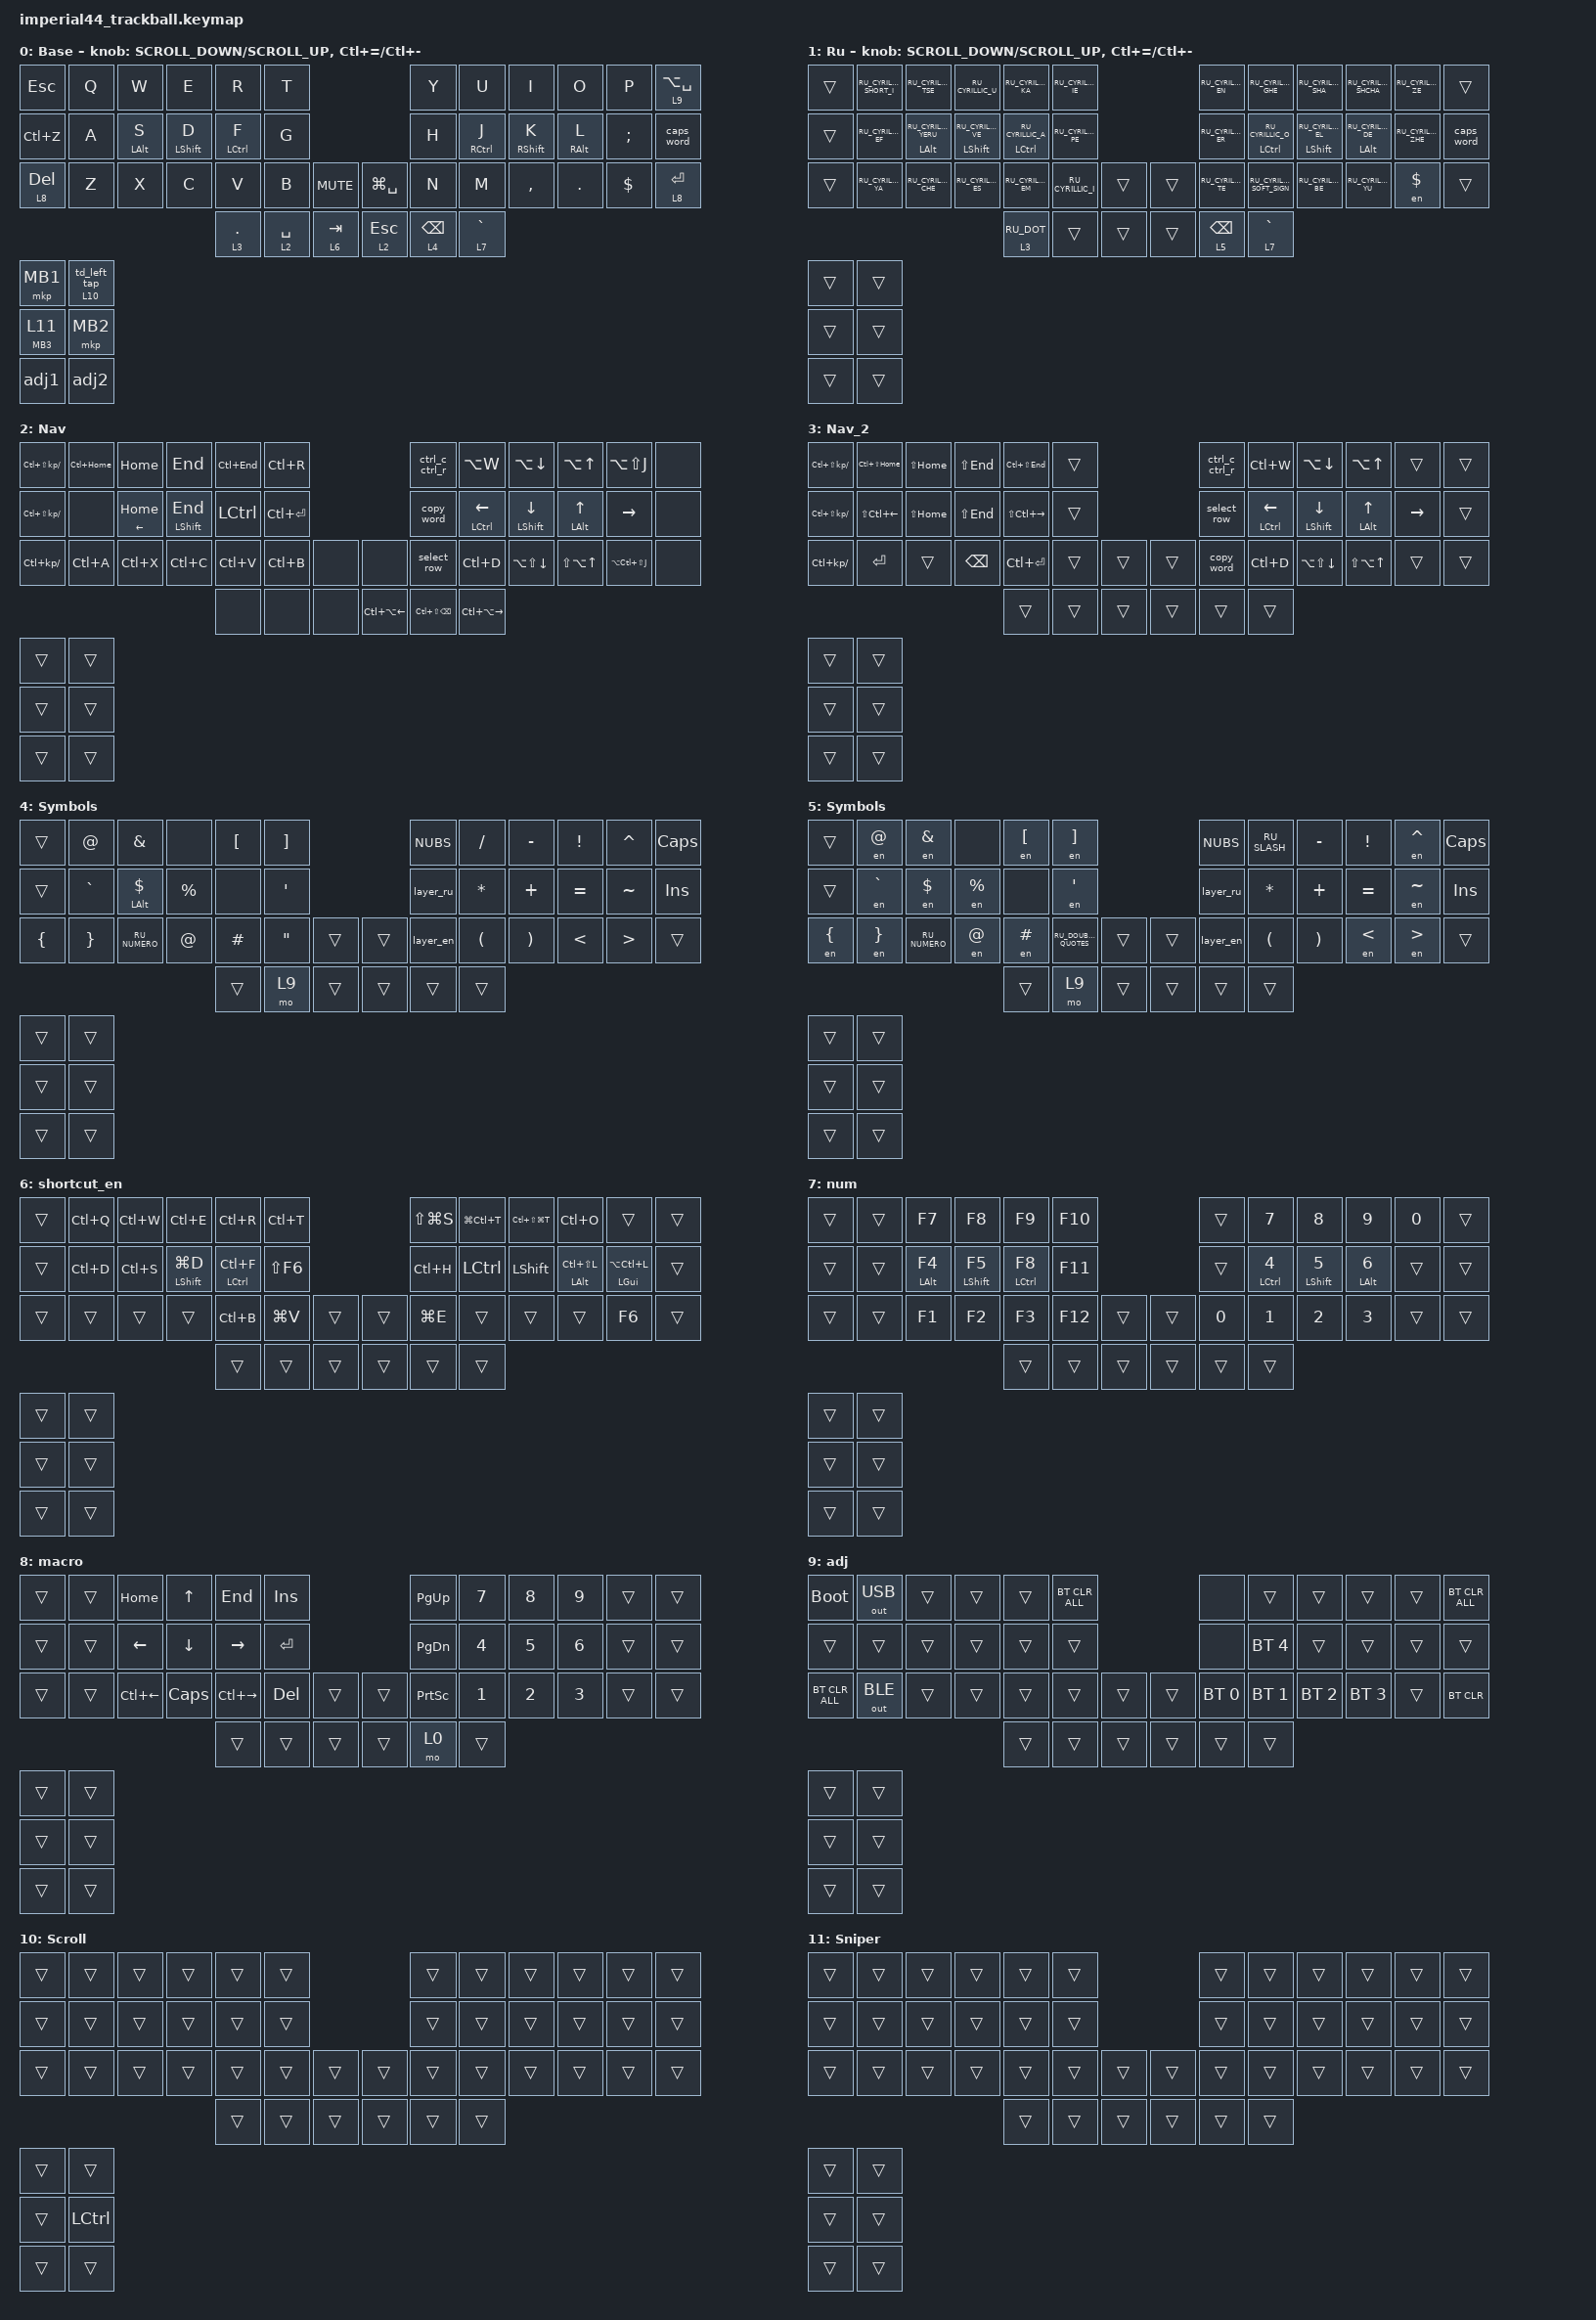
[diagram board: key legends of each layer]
#include "keys_ru.h"
#include <dt-bindings/zmk/input_transform.h>
#include <input/processors.dtsi>
#include <scroll-snap.dtsi>
#include <behaviors.dtsi>
#include <dt-bindings/zmk/bt.h>
#include <dt-bindings/zmk/keys.h>
#include <dt-bindings/zmk/outputs.h>
#include <dt-bindings/zmk/pointing.h>
#include "input/processors/sensor_rotation.dtsi"

&mt {
    quick-tap-ms = <250>;
    flavor = "tap-preferred";
    tapping-term-ms = <170>;
};

&lt {
    flavor = "balanced";
    tapping-term-ms = <170>;
    quick-tap-ms = <210>;
    require-prior-idle-ms = <120>;
};

/ {
    behaviors {
        // Trackball button 2: tap = MB3, hold = scroll layer, tap+hold = Ctrl+Alt+Shift (best-effort)

        td_left_tap: td_left_tap {
            compatible = "zmk,behavior-tap-dance";
            label = "TD_LEFT_TAP";
            #binding-cells = <0>;
            tapping-term-ms = <130>;
            bindings = <&mkp MB3>, <&kp LS(LA(LCTRL))>;
        };

        lt_td_left: lt_td_left {
            compatible = "zmk,behavior-hold-tap";
            label = "LT_TD_LEFT";
            #binding-cells = <2>;
            flavor = "balanced";
            tapping-term-ms = <90>;
            quick-tap-ms = <90>;
            bindings = <&mo>, <&td_left_tap>;
        };

        // Trackball button 3: tap = toggle sniper layer, hold = held MB3

        mmb_sniper: mmb_sniper {
            compatible = "zmk,behavior-hold-tap";
            label = "MMB_SNIPER";
            #binding-cells = <2>;
            flavor = "balanced";
            tapping-term-ms = <200>;
            bindings = <&mkp>, <&tog>;
        };

        adj1: adj1 {
            compatible = "zmk,behavior-tap-dance";
            label = "ADJ1";
            #binding-cells = <0>;
            bindings = <&bt BT_SEL 0>, <&bt BT_CLR>;
        };

        adj2: adj2 {
            compatible = "zmk,behavior-tap-dance";
            label = "ADJ2";
            #binding-cells = <0>;
            bindings = <&bt BT_NXT>, <&bt BT_CLR_ALL>;
        };
    };

    combos {
        compatible = "zmk,combos";

        exclm {
            bindings = <&kp EXCL>;
            key-positions = <3 15>;
            layers = <1 0>;
        };

        dash {
            bindings = <&kp MINUS>;
            key-positions = <4 16>;
            layers = <0 1>;
        };

        en_colon {
            bindings = <&kp COLON>;
            key-positions = <5 17>;
            layers = <0>;
        };

        ru_colon {
            bindings = <&kp RU_COLON>;
            key-positions = <5 17>;
            layers = <1>;
        };

        en_semic {
            bindings = <&kp SEMICOLON>;
            key-positions = <6 18>;
            layers = <0>;
        };

        ru_semi {
            bindings = <&kp RU_SEMICOLON>;
            key-positions = <6 18>;
            layers = <1>;
        };

        undersc {
            bindings = <&kp UNDER>;
            key-positions = <7 19>;
            layers = <1 0>;
        };

        en_quest {
            bindings = <&kp QUESTION>;
            key-positions = <8 20>;
            layers = <0>;
        };

        ru_quest {
            bindings = <&kp RU_QUESTION>;
            key-positions = <8 20>;
            layers = <1>;
        };

        en_pipe {
            bindings = <&kp PIPE>;
            key-positions = <6 7>;
            layers = <4>;
        };

        ru_pipe {
            bindings = <&en PIPE>;
            key-positions = <6 7>;
            layers = <5>;
        };

        shift {
            bindings = <&kp LEFT_SHIFT>;
            key-positions = <12 0>;
            layers = <0 1>;
        };

        ctrl {
            bindings = <&kp RCTRL>;
            key-positions = <12 24>;
            layers = <0 1>;
        };

        gui {
            bindings = <&kp LEFT_GUI>;
            key-positions = <11 23>;
            layers = <0 1>;
        };

        ru_coma {
            bindings = <&kp RU_COMMA>;
            key-positions = <4 3>;
            layers = <1>;
        };

        ru_ha {
            bindings = <&kp RU_CYRILLIC_HA>;
            key-positions = <7 8>;
            layers = <1>;
        };

        ru_hard {
            bindings = <&kp RU_CYRILLIC_HARD_SIGN>;
            key-positions = <8 9>;
            layers = <1>;
        };

        ru_iye {
            bindings = <&kp RU_CYRILLIC_E>;
            key-positions = <21 22>;
            layers = <1>;
        };

        en_comma {
            bindings = <&kp COMMA>;
            key-positions = <4 3>;
            layers = <0>;
        };

        // Trackball buttons 45 (mmb_sniper) + 47 (mkp MB2) -> Ctrl

        combo_ctrl {
            timeout-ms = <50>;
            key-positions = <45 47>;
            bindings = <&kp LCTRL>;
            layers = <0>;
        };
    };

    macros {
        to_ru: to_ru {
            compatible = "zmk,behavior-macro";
            #binding-cells = <0>;
            bindings = <&kp LS(LC(N2))>;
            label = "TO_RU";
            wait-ms = <0>;
            tap-ms = <30>;
        };

        to_en: to_en {
            compatible = "zmk,behavior-macro";
            #binding-cells = <0>;
            bindings = <&kp LS(LC(N1))>;
            label = "TO_EN";
            wait-ms = <0>;
            tap-ms = <30>;
        };

        layer_en: layer_en {
            compatible = "zmk,behavior-macro";
            #binding-cells = <0>;
            bindings = <&to 0 &to_en>;
            label = "LAYER_EN";
            wait-ms = <0>;
            tap-ms = <30>;
        };

        layer_ru: layer_ru {
            compatible = "zmk,behavior-macro";
            #binding-cells = <0>;
            bindings = <&to 1 &to_ru>;
            label = "LAYER_RU";
            tap-ms = <30>;
            wait-ms = <0>;
        };

        en: en {
            compatible = "zmk,behavior-macro-one-param";
            #binding-cells = <1>;
            bindings =
                <&to_en>,
                <&macro_press>,
                <&macro_param_1to1 &kp MACRO_PLACEHOLDER>,
                <&macro_pause_for_release>,
                <&macro_release>,
                <&macro_param_1to1 &kp MACRO_PLACEHOLDER>,
                <&macro_tap>,
                <&to_ru>;

            label = "EN";
            wait-ms = <0>;
            tap-ms = <30>;
        };

        ctrl_c_ctrl_r: ctrl_c_ctrl_r {
            compatible = "zmk,behavior-macro";
            #binding-cells = <0>;
            bindings = <&kp LC(C) &kp LC(R)>;
            label = "CTRL_C_CTRL_R";
            wait-ms = <2>;
        };

        select_row: select_row {
            compatible = "zmk,behavior-macro";
            #binding-cells = <0>;
            bindings = <&kp HOME &kp HOME &kp LS(END)>;
            label = "SELECT_ROW";
        };

        copy_word: copy_word {
            compatible = "zmk,behavior-macro";
            #binding-cells = <0>;
            bindings = <&kp LC(LEFT_ARROW) &kp LC(RIGHT_ARROW) &kp LC(C)>;
            label = "COPY_WORD";
        };
    };

    keymap {
        compatible = "zmk,keymap";

        en {
            bindings = <
&kp ESC             &kp Q             &kp W           &kp E             &kp R        &kp T                                     &kp Y            &kp U        &kp I              &kp O            &kp P       &lt 9 LA(SPACE)
&kp LC(Z)           &kp A             &mt LEFT_ALT S  &mt LEFT_SHIFT D  &mt LCTRL F  &kp G                                     &kp H            &mt RCTRL J  &mt RIGHT_SHIFT K  &mt RIGHT_ALT L  &kp SEMI    &caps_word
&lt 8 DELETE        &kp Z             &kp X           &kp C             &kp V        &kp B        &kp K_MUTE    &kp LG(SPACE)  &kp N            &kp M        &kp COMMA          &kp DOT          &kp DOLLAR  &lt 8 ENTER
                                                                        &lt 3 DOT    &lt 2 SPACE  &lt 6 TAB     &lt 2 ESC      &lt 4 BACKSPACE  &lt 7 GRAVE
&mkp MB1            &lt_td_left 10 0
&mmb_sniper MB3 11  &mkp MB2
&adj1               &adj2
            >;

            display-name = "Base";
            sensor-bindings =
                <&inc_dec_kp K_SCROLL_DOWN K_SCROLL_UP>,
                <&inc_dec_kp LC(EQUAL) LC(MINUS)>;
        };

        ru {
            display-name = "Ru";
            bindings = <
&trans  &kp RU_CYRILLIC_SHORT_I  &kp RU_CYRILLIC_TSE            &kp RU_CYRILLIC_U              &kp RU_CYRILLIC_KA       &kp RU_CYRILLIC_IE                    &kp RU_CYRILLIC_EN  &kp RU_CYRILLIC_GHE        &kp RU_CYRILLIC_SHA            &kp RU_CYRILLIC_SHCHA        &kp RU_CYRILLIC_ZE   &trans
&trans  &kp RU_CYRILLIC_EF       &mt LEFT_ALT RU_CYRILLIC_YERU  &mt LEFT_SHIFT RU_CYRILLIC_VE  &mt LCTRL RU_CYRILLIC_A  &kp RU_CYRILLIC_PE                    &kp RU_CYRILLIC_ER  &mt LCTRL RU_CYRILLIC_O    &mt LEFT_SHIFT RU_CYRILLIC_EL  &mt LEFT_ALT RU_CYRILLIC_DE  &kp RU_CYRILLIC_ZHE  &caps_word
&trans  &kp RU_CYRILLIC_YA       &kp RU_CYRILLIC_CHE            &kp RU_CYRILLIC_ES             &kp RU_CYRILLIC_EM       &kp RU_CYRILLIC_I   &trans    &trans  &kp RU_CYRILLIC_TE  &kp RU_CYRILLIC_SOFT_SIGN  &kp RU_CYRILLIC_BE             &kp RU_CYRILLIC_YU           &en DOLLAR           &trans
                                                                                               &lt 3 RU_DOT             &trans              &trans    &trans  &lt 5 BACKSPACE     &lt 7 GRAVE
&trans  &trans
&trans  &trans
&trans  &trans
            >;

            sensor-bindings =
                <&inc_dec_kp K_SCROLL_DOWN K_SCROLL_UP>,
                <&inc_dec_kp LC(EQUAL) LC(MINUS)>;
        };

        nav {
            bindings = <
&kp LC(LS(KP_SLASH))   &kp LC(HOME)  &kp HOME       &kp END             &kp LC(END)  &kp LC(R)                                     &ctrl_c_ctrl_r         &kp LA(W)                &kp LA(DOWN)               &kp LA(UP)       &kp LA(LS(J))      &none
&kp LC(LS(KP_DIVIDE))  &none         &mt LEFT HOME  &mt LEFT_SHIFT END  &kp LCTRL    &kp LC(RET)                                   &copy_word             &mt LCTRL LEFT_ARROW     &mt LEFT_SHIFT DOWN_ARROW  &mt LEFT_ALT UP  &kp RIGHT_ARROW    &none
&kp LC(KP_DIVIDE)      &kp LC(A)     &kp LC(X)      &kp LC(C)           &kp LC(V)    &kp LC(B)    &none    &none                   &select_row            &kp LC(D)                &kp LA(LS(DOWN_ARROW))     &kp LS(LA(UP))   &kp LA(LC(LS(J)))  &none
                                                                        &none        &none        &none    &kp LC(LA(LEFT_ARROW))  &kp LC(LS(BACKSPACE))  &kp LC(LA(RIGHT_ARROW))
&trans                 &trans
&trans                 &trans
&trans                 &trans
            >;

            display-name = "Nav";
        };

        nav_2 {
            display-name = "Nav_2";
            bindings = <
&kp LC(LS(KP_SLASH))   &kp LC(LS(HOME))        &kp LS(HOME)  &kp LS(END)    &kp LC(LS(END))          &trans                    &ctrl_c_ctrl_r  &kp LC(W)             &kp LA(DOWN)               &kp LA(UP)       &trans           &trans
&kp LC(LS(KP_DIVIDE))  &kp LS(LC(LEFT_ARROW))  &kp LS(HOME)  &kp LS(END)    &kp LS(LC(RIGHT_ARROW))  &trans                    &select_row     &mt LCTRL LEFT_ARROW  &mt LEFT_SHIFT DOWN_ARROW  &mt LEFT_ALT UP  &kp RIGHT_ARROW  &trans
&kp LC(KP_DIVIDE)      &kp ENTER               &trans        &kp BACKSPACE  &kp LC(ENTER)            &trans  &trans    &trans  &copy_word      &kp LC(D)             &kp LA(LS(DOWN_ARROW))     &kp LS(LA(UP))   &trans           &trans
                                                                            &trans                   &trans  &trans    &trans  &trans          &trans
&trans                 &trans
&trans                 &trans
&trans                 &trans
            >;
        };

        sym_en {
            display-name = "Symbols";
            bindings = <
&trans          &kp AT           &kp AMPERSAND        &none        &kp LEFT_BRACKET  &kp RIGHT_BRACKET                    &kp NUBS   &kp FSLH   &kp MINUS  &kp EXCL       &kp CARET         &kp CLCK
&trans          &kp GRAVE        &mt LEFT_ALT DOLLAR  &kp PRCNT    &none             &kp SQT                              &layer_ru  &kp ASTRK  &kp PLUS   &kp EQUAL      &kp TILDE         &kp INS
&kp LEFT_BRACE  &kp RIGHT_BRACE  &kp RU_NUMERO        &kp AT_SIGN  &kp HASH          &kp DQT            &trans    &trans  &layer_en  &kp LPAR   &kp RPAR   &kp LESS_THAN  &kp GREATER_THAN  &trans
                                                                   &trans            &mo 9              &trans    &trans  &trans     &trans
&trans          &trans
&trans          &trans
&trans          &trans
            >;
        };

        sym_ru {
            display-name = "Symbols";
            bindings = <
&trans          &en AT           &en AMPERSAND  &none        &en LEFT_BRACKET  &en RIGHT_BRACKET                       &kp NUBS   &kp RU_SLASH  &kp MINUS  &kp EXCL       &en CARET         &kp CLCK
&trans          &en GRAVE        &en DOLLAR     &en PRCNT    &none             &en SQT                                 &layer_ru  &kp ASTRK     &kp PLUS   &kp EQUAL      &en TILDE         &kp INS
&en LEFT_BRACE  &en RIGHT_BRACE  &kp RU_NUMERO  &en AT_SIGN  &en HASH          &kp RU_DOUBLE_QUOTES  &trans    &trans  &layer_en  &kp LPAR      &kp RPAR   &en LESS_THAN  &en GREATER_THAN  &trans
                                                             &trans            &mo 9                 &trans    &trans  &trans     &trans
&trans          &trans
&trans          &trans
&trans          &trans
            >;
        };

        shortcut_en {
            bindings = <
&trans  &kp LC(Q)  &kp LC(W)  &kp LC(E)             &kp LC(R)        &kp LC(T)                     &kp LS(LG(S))  &kp LG(LC(T))  &kp LC(LS(LG(T)))  &kp LC(O)               &trans                  &trans
&trans  &kp LC(D)  &kp LC(S)  &mt LEFT_SHIFT LG(D)  &mt LCTRL LC(F)  &kp LS(F6)                    &kp LC(H)      &kp LCTRL      &kp LEFT_SHIFT     &mt LEFT_ALT LC(LS(L))  &mt LEFT_GUI LA(LC(L))  &trans
&trans  &trans     &trans     &trans                &kp LC(B)        &kp LG(V)   &trans    &trans  &kp LG(E)      &trans         &trans             &trans                  &kp F6                  &trans
                                                    &trans           &trans      &trans    &trans  &trans         &trans
&trans  &trans
&trans  &trans
&trans  &trans
            >;

            label = "shortcut_en";
        };

        num {
            bindings = <
&trans  &trans  &kp F7           &kp F8             &kp F9        &kp F10                    &trans  &kp N7              &kp N8                   &kp N9           &kp N0  &trans
&trans  &trans  &mt LEFT_ALT F4  &mt LEFT_SHIFT F5  &mt LCTRL F8  &kp F11                    &trans  &mt LCTRL NUMBER_4  &mt LEFT_SHIFT NUMBER_5  &mt LEFT_ALT N6  &trans  &trans
&trans  &trans  &kp F1           &kp F2             &kp F3        &kp F12  &trans    &trans  &kp N0  &kp N1              &kp N2                   &kp N3           &trans  &trans
                                                    &trans        &trans   &trans    &trans  &trans  &trans
&trans  &trans
&trans  &trans
&trans  &trans
            >;
        };

        macro {
            display-name = "macro";
            bindings = <
&trans  &trans  &kp HOME      &kp UP    &kp END        &kp INS                    &kp PG_UP        &kp N7  &kp N8  &kp N9  &trans  &trans
&trans  &trans  &kp LEFT      &kp DOWN  &kp RIGHT      &kp RET                    &kp PG_DN        &kp N4  &kp N5  &kp N6  &trans  &trans
&trans  &trans  &kp LC(LEFT)  &kp CAPS  &kp LC(RIGHT)  &kp DEL  &trans    &trans  &kp PRINTSCREEN  &kp N1  &kp N2  &kp N3  &trans  &trans
                                        &trans         &trans   &trans    &trans  &mo 0            &trans
&trans  &trans
&trans  &trans
&trans  &trans
            >;
        };

        adj {
            bindings = <
&bootloader     &out OUT_USB  &trans  &trans  &trans  &bt BT_CLR_ALL                    &none         &trans        &trans        &trans        &trans  &bt BT_CLR_ALL
&trans          &trans        &trans  &trans  &trans  &trans                            &none         &bt BT_SEL 4  &trans        &trans        &trans  &trans
&bt BT_CLR_ALL  &out OUT_BLE  &trans  &trans  &trans  &trans          &trans    &trans  &bt BT_SEL 0  &bt BT_SEL 1  &bt BT_SEL 2  &bt BT_SEL 3  &trans  &bt BT_CLR
                                              &trans  &trans          &trans    &trans  &trans        &trans
&trans          &trans
&trans          &trans
&trans          &trans
            >;
        };

        scroll {
            display-name = "Scroll";
            bindings = <
&trans  &trans     &trans  &trans  &trans  &trans                    &trans  &trans  &trans  &trans  &trans  &trans
&trans  &trans     &trans  &trans  &trans  &trans                    &trans  &trans  &trans  &trans  &trans  &trans
&trans  &trans     &trans  &trans  &trans  &trans  &trans    &trans  &trans  &trans  &trans  &trans  &trans  &trans
                                   &trans  &trans  &trans    &trans  &trans  &trans
&trans  &trans
&trans  &kp LCTRL
&trans  &trans
            >;
        };

        sniper {
            display-name = "Sniper";
            bindings = <
&trans  &trans  &trans  &trans  &trans  &trans                    &trans  &trans  &trans  &trans  &trans  &trans
&trans  &trans  &trans  &trans  &trans  &trans                    &trans  &trans  &trans  &trans  &trans  &trans
&trans  &trans  &trans  &trans  &trans  &trans  &trans    &trans  &trans  &trans  &trans  &trans  &trans  &trans
                                &trans  &trans  &trans    &trans  &trans  &trans
&trans  &trans
&trans  &trans
&trans  &trans
            >;
        };
    };

    input_processors {
        sensor_rotation: sensor_rotation {
            compatible = "zmk,input-processor-sensor-rotation";
            status = "okay";
            #input-processor-cells = <0>;
            rotation-angle = <5>;
        };
    };
};

&trackball { cpi = <400>; };

&trackball_listener {
    input-processors = <&sensor_rotation>;

    scroller {
        layers = <10>;
        input-processors =
            <&sensor_rotation>,
            <&zip_xy_transform INPUT_TRANSFORM_Y_INVERT>,
            <&zip_xy_scaler 1 16>,
            <&zip_xy_to_scroll_mapper &zip_scroll_snap>;
    };

    sniper {
        layers = <11>;
        input-processors = <&sensor_rotation>, <&zip_xy_scaler 1 4>;
    };
};
